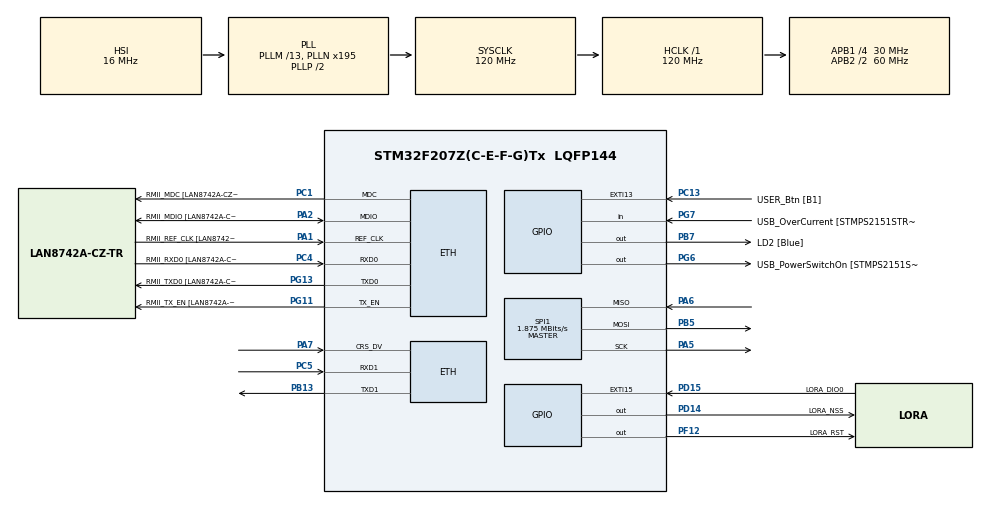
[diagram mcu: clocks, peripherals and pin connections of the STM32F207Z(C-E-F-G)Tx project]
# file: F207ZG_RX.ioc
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ETH.MediaInterface=ETH_MEDIA_INTERFACE_RMII
FREERTOS.Tasks01=defaultTask,0,1024,StartDefaultTask,Default,NULL,Dynamic,NULL,NULL
FREERTOS.configTOTAL_HEAP_SIZE=32768
FREERTOS.configUSE_NEWLIB_REENTRANT=1
LWIP.IP_ADDRESS=198.162.010.062
LWIP.LWIP_DHCP=0
LWIP.NETMASK_ADDRESS=255.255.255.000
LWIP.RTOS_USE_NEWLIB_REENTRANT=FREERTOS$context\:USE_NEWLIB_REENTRANT
LWIP.Version=v2.0.3_Cube
Mcu.Family=STM32F2
Mcu.Name=STM32F207Z(C-E-F-G)Tx
Mcu.Package=LQFP144
NVIC.ETH_IRQn=true\:5\:0\:false\:false\:true\:true\:false\:true\:true
NVIC.EXTI15_10_IRQn=true\:5\:0\:false\:false\:true\:true\:true\:true\:true
NVIC.PriorityGroup=NVIC_PRIORITYGROUP_4
NVIC.TIM6_DAC_IRQn=true\:15\:0\:false\:false\:true\:false\:false\:true\:true
NVIC.TimeBase=TIM6_DAC_IRQn
NVIC.TimeBaseIP=TIM6
PA1.GPIO_Label=RMII_REF_CLK [LAN8742A-CZ-TR_REFCLK0]
PA1.Mode=RMII
PA1.Signal=ETH_REF_CLK
PA10.GPIO_Label=USB_ID
PA10.Signal=USB_OTG_FS_ID
PA11.GPIO_Label=USB_DM
PA11.Signal=USB_OTG_FS_DM
PA12.GPIO_Label=USB_DP
PA12.Signal=USB_OTG_FS_DP
PA13.GPIO_Label=TMS
PA13.Mode=Serial_Wire
PA13.Signal=SYS_JTMS-SWDIO
PA14.GPIO_Label=TCK
PA14.Mode=Serial_Wire
PA14.Signal=SYS_JTCK-SWCLK
PA2.GPIO_Label=RMII_MDIO [LAN8742A-CZ-TR_MDIO]
PA2.Mode=RMII
PA2.Signal=ETH_MDIO
PA5.Mode=Full_Duplex_Master
PA5.Signal=SPI1_SCK
PA6.Mode=Full_Duplex_Master
PA6.Signal=SPI1_MISO
PA7.Mode=RMII
PA7.Signal=ETH_CRS_DV
PA9.GPIO_Label=USB_VBUS
PA9.Signal=USB_OTG_FS_VBUS
PB0.Signal=ETH_RXD2
PB13.Mode=RMII
PB13.Signal=ETH_TXD1
PB3.GPIO_Label=SWO
PB3.Signal=SYS_JTDO-SWO
PB5.Mode=Full_Duplex_Master
PB5.Signal=SPI1_MOSI
PB7.GPIO_Label=LD2 [Blue]
PB7.Signal=GPIO_Output
PC1.GPIO_Label=RMII_MDC [LAN8742A-CZ-TR_MDC]
PC1.Mode=RMII
PC1.Signal=ETH_MDC
PC13.GPIO_Label=USER_Btn [B1]
PC13.Signal=GPXTI13
PC14-OSC32_IN.Signal=RCC_OSC32_IN
PC15-OSC32_OUT.Signal=RCC_OSC32_OUT
PC4.GPIO_Label=RMII_RXD0 [LAN8742A-CZ-TR_RXD0]
PC4.Mode=RMII
PC4.Signal=ETH_RXD0
PC5.Mode=RMII
PC5.Signal=ETH_RXD1
PD14.GPIO_Label=LORA_NSS
PD14.Signal=GPIO_Output
PD15.GPIO_Label=LORA_DIO0
PD15.Signal=GPXTI15
PF12.GPIO_Label=LORA_RST
PF12.Signal=GPIO_Output
PG11.GPIO_Label=RMII_TX_EN [LAN8742A-CZ-TR_TXEN]
PG11.Mode=RMII
PG11.Signal=ETH_TX_EN
PG13.GPIO_Label=RMII_TXD0 [LAN8742A-CZ-TR_TXD0]
PG13.Mode=RMII
PG13.Signal=ETH_TXD0
PG6.GPIO_Label=USB_PowerSwitchOn [STMPS2151STR_EN]
PG6.Signal=GPIO_Output
PG7.GPIO_Label=USB_OverCurrent [STMPS2151STR_FAULT]
PG7.Signal=GPIO_Input
PH0-OSC_IN.GPIO_Label=MCO [STM32F103CBT6_PA8]
PH0-OSC_IN.Mode=HSE-External-Oscillator
PH0-OSC_IN.Signal=RCC_OSC_IN
PH1-OSC_OUT.Mode=HSE-External-Oscillator
PH1-OSC_OUT.Signal=RCC_OSC_OUT
ProjectManager.HeapSize=0x200
ProjectManager.StackSize=0x400
ProjectManager.TargetToolchain=STM32CubeIDE
RCC.48MHZClocksFreq_Value=48000000
RCC.AHBFreq_Value=120000000
RCC.APB1CLKDivider=RCC_HCLK_DIV4
RCC.APB1Freq_Value=30000000
RCC.APB1TimFreq_Value=60000000
RCC.APB2CLKDivider=RCC_HCLK_DIV2
RCC.APB2Freq_Value=60000000
RCC.APB2TimFreq_Value=120000000
RCC.CortexFreq_Value=120000000
RCC.HCLKFreq_Value=120000000
RCC.HSE_VALUE=8000000
RCC.HSI_VALUE=16000000
RCC.LSE_VALUE=32768
RCC.PLLM=13
RCC.PLLMUL=RCC_PLL_MUL9
RCC.PLLN=195
RCC.PLLQ=5
RCC.PRESCALERUSB=RCC_USBCLKSOURCE_PLL_DIV1_5
RCC.SYSCLKFreq_VALUE=120000000
RCC.SYSCLKSource=RCC_SYSCLKSOURCE_PLLCLK
RCC.SYSCLKSourceVirtual=RCC_SYSCLKSOURCE_PLLCLK
RCC.USBFreq_Value=48000000
RCC.VCOOutputFreq_Value=240000000
SPI1.BaudRatePrescaler=SPI_BAUDRATEPRESCALER_32
SPI1.CalculateBaudRate=1.875 MBits/s
SPI1.Direction=SPI_DIRECTION_2LINES
SPI1.Mode=SPI_MODE_MASTER
SPI1.VirtualType=VM_MASTER
VP_FREERTOS_VS_CMSIS_V1.Mode=CMSIS_V1
VP_LWIP_VS_Enabled.Mode=Enabled
VP_SYS_VS_tim6.Mode=TIM6
board=NUCLEO-F207ZG

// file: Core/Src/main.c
/* USER CODE BEGIN Header */
/**
 ******************************************************************************
 * @file    main.c
 * @brief   StructEye Gateway — STM32F207ZG LoRa RX
 *          Receives from 4 sensor nodes and forwards via Paho MQTT.
 ******************************************************************************
 */
/* USER CODE END Header */

#include "main.h"
#include "cmsis_os.h"
#include "lwip.h"

/* USER CODE BEGIN Includes */
#include "lora.h"
#include <stdio.h>
#include <string.h>
#include "lwip/api.h"

#include "MQTTClient.h"
#include "mqtt_transport.h"

#define MQTT_BROKER_IP   "192.168.1.100"
#define MQTT_BROKER_PORT 1883
/* USER CODE END Includes */

SPI_HandleTypeDef hspi1;
osThreadId defaultTaskHandle;

/* USER CODE BEGIN PV */
volatile uint8_t lora_rx_flag = 0;
MQTTClient mqttClient;
Network network;
unsigned char sendbuf[512];
unsigned char readbuf[512];
/* USER CODE END PV */

void SystemClock_Config(void);
static void MX_GPIO_Init(void);
static void MX_SPI1_Init(void);
void StartDefaultTask(void const * argument);

/* USER CODE BEGIN PFP */
int _write(int file, char *ptr, int len);
uint16_t crc16(const uint8_t *data, uint16_t len);
/* USER CODE END PFP */

/* USER CODE BEGIN 0 */

/* ── USART3 debug (Nucleo virtual COM) ─────────────────────────────────── */
static void USART3_DebugInit(void) {
  __HAL_RCC_GPIOD_CLK_ENABLE();
  __HAL_RCC_USART3_CLK_ENABLE();

  GPIO_InitTypeDef GPIO_InitStruct = {0};
  GPIO_InitStruct.Pin       = GPIO_PIN_8 | GPIO_PIN_9;
  GPIO_InitStruct.Mode      = GPIO_MODE_AF_PP;
  GPIO_InitStruct.Pull      = GPIO_NOPULL;
  GPIO_InitStruct.Speed     = GPIO_SPEED_FREQ_VERY_HIGH;
  GPIO_InitStruct.Alternate = GPIO_AF7_USART3;
  HAL_GPIO_Init(GPIOD, &GPIO_InitStruct);

  const uint32_t baud = 115200U;
  uint32_t pclk = HAL_RCC_GetPCLK1Freq();
  USART3->BRR  = (pclk + (baud / 2U)) / baud;
  USART3->CR1  = USART_CR1_TE | USART_CR1_RE;
  USART3->CR2  = 0;
  USART3->CR3  = 0;
  USART3->CR1 |= USART_CR1_UE;
}

static void USART3_WriteBlocking(const uint8_t *data, uint16_t len) {
  for (uint16_t i = 0; i < len; i++) {
    while ((USART3->SR & USART_SR_TXE) == 0) {}
    USART3->DR = data[i];
  }
  while ((USART3->SR & USART_SR_TC) == 0) {}
}

int _write(int file, char *ptr, int len) {
  (void)file;
  USART3_WriteBlocking((const uint8_t *)ptr, (uint16_t)len);
  return len;
}

int __io_putchar(int ch) {
  uint8_t c = (uint8_t)ch;
  USART3_WriteBlocking(&c, 1);
  return ch;
}

/* ── CRC16 ──────────────────────────────────────────────────────────────── */
uint16_t crc16(const uint8_t *data, uint16_t len) {
  uint16_t crc = 0xFFFF;
  for (uint16_t i = 0; i < len; i++) {
    crc ^= (uint16_t)data[i] << 8;
    for (uint8_t j = 0; j < 8; j++) {
      if (crc & 0x8000) crc = (crc << 1) ^ 0x1021;
      else              crc <<= 1;
    }
  }
  return crc;
}

/* ── LoRa DIO0 interrupt ────────────────────────────────────────────────── */
void HAL_GPIO_EXTI_Callback(uint16_t GPIO_Pin) {
  if (GPIO_Pin == LORA_DIO0_Pin) {
    lora_rx_flag = 1;
  }
}

/* USER CODE END 0 */

/* ── main ───────────────────────────────────────────────────────────────── */
int main(void) {
  HAL_Init();
  SystemClock_Config();
  MX_GPIO_Init();
  MX_SPI1_Init();

  /* USER CODE BEGIN 2 */
  USART3_DebugInit();
  setvbuf(stdout, NULL, _IONBF, 0);

  HAL_GPIO_WritePin(LORA_NSS_GPIO_Port, LORA_NSS_Pin, GPIO_PIN_SET);
  HAL_GPIO_WritePin(LORA_RST_GPIO_Port, LORA_RST_Pin, GPIO_PIN_SET);

  HAL_NVIC_SetPriority(EXTI15_10_IRQn, 0, 0);
  HAL_NVIC_EnableIRQ(EXTI15_10_IRQn);

  printf("\r\n============================================================\r\n");
  printf("  StructEye Gateway - STM32F207ZG LoRa Receiver (Paho MQTT)\r\n");
  printf("  MQTT Broker -> %s:%u\r\n", MQTT_BROKER_IP, MQTT_BROKER_PORT);
  printf("============================================================\r\n");

  SX1278_Init();
  uint8_t loraVersion = SX1278_ReadRegister(REG_VERSION);
  printf("LoRa Version: 0x%02X %s\r\n", loraVersion,
         (loraVersion == 0x12) ? "(OK)" : "(ERROR!)");

  SX1278_StartRX();
  printf("Listening for LoRa packets...\r\n\r\n");
  /* USER CODE END 2 */

  osThreadDef(defaultTask, StartDefaultTask, osPriorityNormal, 0, 4096);
  defaultTaskHandle = osThreadCreate(osThread(defaultTask), NULL);

  osKernelStart();

  while (1) { osDelay(100); }
}

/* ── FreeRTOS default task ───────────────────────────────────────────────── */
void StartDefaultTask(void const * argument) {
  extern struct netif gnetif;

  /* Init LwIP inside the task (required for FreeRTOS+LwIP) */
  MX_LWIP_Init();

  /* Wait for link to come up */
  osDelay(3000);
  printf("netif link: %s\r\n", netif_is_link_up(&gnetif) ? "UP" : "DOWN");
  printf("netif up:   %s\r\n", netif_is_up(&gnetif)      ? "UP" : "DOWN");

  /* USER CODE BEGIN 5 */

  /* --- PAHO MQTT INITIALIZATION --- */
  MQTT_NetworkInit(&network, MQTT_BROKER_IP, MQTT_BROKER_PORT);
  MQTTClientInit(&mqttClient, &network, 5000, sendbuf, sizeof(sendbuf), readbuf, sizeof(readbuf));

  printf("[MQTT] Connecting to broker %s...\r\n", MQTT_BROKER_IP);
  int rc = network.connect(&network, MQTT_BROKER_IP, MQTT_BROKER_PORT);
  if (rc == 0) {
      MQTTPacket_connectData data = MQTTPacket_connectData_initializer;
      data.MQTTVersion = 3;
      data.clientID.cstring = "STM32_Gateway";

      rc = MQTTConnect(&mqttClient, &data);
      if (rc == MQTT_SUCCESS) {
          printf("[MQTT] Connected successfully to Mosquitto!\r\n");
      } else {
          printf("[MQTT] MQTTConnect failed with code %d\r\n", rc);
      }
  } else {
      printf("[MQTT] TCP connection failed\r\n");
  }

  uint8_t  rx_buffer[256];
  memset(rx_buffer, 0, sizeof(rx_buffer));
  uint32_t total_rx      = 0;
  uint32_t valid_rx      = 0;

  for (;;) {

    /* Keep MQTT connection alive or try to reconnect */
    if (mqttClient.isconnected) {
        MQTTYield(&mqttClient, 10);
    } else {
        static uint32_t last_reconnect_attempt = 0;
        if (HAL_GetTick() - last_reconnect_attempt > 5000) {
            last_reconnect_attempt = HAL_GetTick();
            printf("[MQTT] Attempting to reconnect...\r\n");
            network.disconnect(&network);
            int rc = network.connect(&network, MQTT_BROKER_IP, MQTT_BROKER_PORT);
            if (rc == 0) {
                MQTTPacket_connectData data = MQTTPacket_connectData_initializer;
                data.MQTTVersion = 3;
                data.clientID.cstring = "STM32_Gateway";
                rc = MQTTConnect(&mqttClient, &data);
                if (rc == MQTT_SUCCESS) {
                    printf("[MQTT] Reconnected successfully to Mosquitto!\r\n");
                }
            }
        }
    }

    /* ── LoRa packet received ────────────────────────────────────────── */
    if (lora_rx_flag) {
      lora_rx_flag = 0;

      uint8_t irqFlags = SX1278_ReadRegister(REG_IRQ_FLAGS);
      SX1278_WriteRegister(REG_IRQ_FLAGS, 0xFF);
      total_rx++;

      /* Check RxDone flag (bit 6) */
      if (!(irqFlags & 0x40)) {
        SX1278_RestartRX();
        continue;
      }

      /* Check packet length */
      uint8_t len = SX1278_ReadRegister(REG_RX_NB_BYTES);
      if (len != 23) {
        printf("[DROP] Wrong length: %u\r\n", len);
        SX1278_RestartRX();
        continue;
      }

      /* Read FIFO */
      uint8_t fifoAddr = SX1278_ReadRegister(REG_FIFO_RX_CURRENT_ADDR);
      SX1278_WriteRegister(REG_FIFO_ADDR_PTR, fifoAddr);

      HAL_GPIO_WritePin(LORA_NSS_GPIO_Port, LORA_NSS_Pin, GPIO_PIN_RESET);
      uint8_t reg_addr = REG_FIFO & 0x7F;
      HAL_SPI_Transmit(&hspi1, &reg_addr, 1, HAL_MAX_DELAY);
      HAL_SPI_Receive(&hspi1, rx_buffer, len, HAL_MAX_DELAY);
      HAL_GPIO_WritePin(LORA_NSS_GPIO_Port, LORA_NSS_Pin, GPIO_PIN_SET);

      /* Check start byte */
      if (rx_buffer[0] != 0xAA) {
        printf("[DROP] Bad start: 0x%02X\r\n", rx_buffer[0]);
        SX1278_RestartRX();
        continue;
      }

      /* Check CRC */
      uint16_t rx_crc   = (uint16_t)((rx_buffer[21] << 8) | rx_buffer[22]);
      uint16_t calc_crc = crc16(rx_buffer, 21);
      if (rx_crc != calc_crc) {
        printf("[DROP] CRC: 0x%04X vs 0x%04X\r\n", rx_crc, calc_crc);
        SX1278_RestartRX();
        continue;
      }

      /* Parse packet */
      valid_rx++;
      uint8_t  node_id = rx_buffer[1];
      uint8_t  seq     = rx_buffer[2];
      int16_t  ax      = (int16_t)((rx_buffer[3]  << 8) | rx_buffer[4]);
      int16_t  ay      = (int16_t)((rx_buffer[5]  << 8) | rx_buffer[6]);
      int16_t  az      = (int16_t)((rx_buffer[7]  << 8) | rx_buffer[8]);
      int16_t  gx      = (int16_t)((rx_buffer[9]  << 8) | rx_buffer[10]);
      int16_t  gy      = (int16_t)((rx_buffer[11] << 8) | rx_buffer[12]);
      int16_t  gz      = (int16_t)((rx_buffer[13] << 8) | rx_buffer[14]);
      uint16_t vib     = (uint16_t)((rx_buffer[15] << 8) | rx_buffer[16]);
      int16_t  tilt    = (int16_t)((rx_buffer[17] << 8) | rx_buffer[18]);
      uint8_t  status  = rx_buffer[19];
      uint8_t  alert   = rx_buffer[20];

      SX1278_RestartRX();

      /* Print to serial */
      const char *alert_str = (alert == 0) ? "OK" :
                              (alert == 1) ? "WARN" :
                              (alert == 2) ? "CRITICAL" : "UNKNOWN";

      printf("\r\n--- Packet Received ---\r\n");
      printf("Node: %u | Seq: %u | RX: %lu Valid: %lu\r\n",
             node_id, seq, total_rx, valid_rx);
      printf("Accel: X=%.2f Y=%.2f Z=%.2f m/s2\r\n",
             ax/100.0f, ay/100.0f, az/100.0f);
      printf("Gyro:  X=%.2f Y=%.2f Z=%.2f deg/s\r\n",
             gx/100.0f, gy/100.0f, gz/100.0f);
      printf("Vib: %.2f m/s2 | Tilt: %.2f deg\r\n",
             vib/100.0f, tilt/100.0f);
      printf("Status: 0x%02X | Alert: %u [%s]\r\n",
             status, alert, alert_str);

      /* Publish via MQTT */
      if (mqttClient.isconnected) {
          char payload[256];
          int n = snprintf(payload, sizeof(payload),
              "{\"node\":%u, \"seq\":%u, \"ax\":%.2f, \"ay\":%.2f, \"az\":%.2f, "
              "\"gx\":%.2f, \"gy\":%.2f, \"gz\":%.2f, \"vib\":%.2f, \"tilt\":%.2f, "
              "\"alert\":%u}",
              node_id, seq, ax/100.0f, ay/100.0f, az/100.0f,
              gx/100.0f, gy/100.0f, gz/100.0f, vib/100.0f, tilt/100.0f, alert);

          MQTTMessage message;
          message.qos = QOS0;
          message.retained = 0;
          message.payload = payload;
          message.payloadlen = n;

          char topic[64];
          snprintf(topic, sizeof(topic), "struceye/node/%u/data", node_id);

          int pub_rc = MQTTPublish(&mqttClient, topic, &message);
          if (pub_rc == MQTT_SUCCESS) {
              printf("[MQTT] Successfully Published to %s\r\n", topic);
          } else {
              printf("[MQTT] Publish failed! code = %d\r\n", pub_rc);
          }
      } else {
          printf("[MQTT] Cannot publish, client disconnected.\r\n");
      }
    }

    osDelay(10);
  }
  /* USER CODE END 5 */
}

/* ── HAL / system callbacks ─────────────────────────────────────────────── */
void HAL_TIM_PeriodElapsedCallback(TIM_HandleTypeDef *htim) {
  if (htim->Instance == TIM6) HAL_IncTick();
}

void Error_Handler(void) {
  __disable_irq();
  while (1) {}
}

void SystemClock_Config(void) {
  RCC_OscInitTypeDef RCC_OscInitStruct = {0};
  RCC_ClkInitTypeDef RCC_ClkInitStruct = {0};

  RCC_OscInitStruct.OscillatorType      = RCC_OSCILLATORTYPE_HSI;
  RCC_OscInitStruct.HSIState            = RCC_HSI_ON;
  RCC_OscInitStruct.HSICalibrationValue = RCC_HSICALIBRATION_DEFAULT;
  RCC_OscInitStruct.PLL.PLLState        = RCC_PLL_ON;
  RCC_OscInitStruct.PLL.PLLSource       = RCC_PLLSOURCE_HSI;
  RCC_OscInitStruct.PLL.PLLM            = 13;
  RCC_OscInitStruct.PLL.PLLN            = 195;
  RCC_OscInitStruct.PLL.PLLP            = RCC_PLLP_DIV2;
  RCC_OscInitStruct.PLL.PLLQ            = 5;
  if (HAL_RCC_OscConfig(&RCC_OscInitStruct) != HAL_OK) Error_Handler();

  RCC_ClkInitStruct.ClockType      = RCC_CLOCKTYPE_HCLK | RCC_CLOCKTYPE_SYSCLK
                                   | RCC_CLOCKTYPE_PCLK1 | RCC_CLOCKTYPE_PCLK2;
  RCC_ClkInitStruct.SYSCLKSource   = RCC_SYSCLKSOURCE_PLLCLK;
  RCC_ClkInitStruct.AHBCLKDivider  = RCC_SYSCLK_DIV1;
  RCC_ClkInitStruct.APB1CLKDivider = RCC_HCLK_DIV4;
  RCC_ClkInitStruct.APB2CLKDivider = RCC_HCLK_DIV2;
  if (HAL_RCC_ClockConfig(&RCC_ClkInitStruct, FLASH_LATENCY_3) != HAL_OK) Error_Handler();
}

static void MX_SPI1_Init(void) {
  hspi1.Instance               = SPI1;
  hspi1.Init.Mode              = SPI_MODE_MASTER;
  hspi1.Init.Direction         = SPI_DIRECTION_2LINES;
  hspi1.Init.DataSize          = SPI_DATASIZE_8BIT;
  hspi1.Init.CLKPolarity       = SPI_POLARITY_LOW;
  hspi1.Init.CLKPhase          = SPI_PHASE_1EDGE;
  hspi1.Init.NSS               = SPI_NSS_SOFT;
  hspi1.Init.BaudRatePrescaler = SPI_BAUDRATEPRESCALER_32;
  hspi1.Init.FirstBit          = SPI_FIRSTBIT_MSB;
  hspi1.Init.TIMode            = SPI_TIMODE_DISABLE;
  hspi1.Init.CRCCalculation    = SPI_CRCCALCULATION_DISABLE;
  hspi1.Init.CRCPolynomial     = 10;
  if (HAL_SPI_Init(&hspi1) != HAL_OK) Error_Handler();
}

static void MX_GPIO_Init(void) {
  GPIO_InitTypeDef GPIO_InitStruct = {0};

  __HAL_RCC_GPIOC_CLK_ENABLE();
  __HAL_RCC_GPIOH_CLK_ENABLE();
  __HAL_RCC_GPIOA_CLK_ENABLE();
  __HAL_RCC_GPIOB_CLK_ENABLE();
  __HAL_RCC_GPIOF_CLK_ENABLE();
  __HAL_RCC_GPIOD_CLK_ENABLE();
  __HAL_RCC_GPIOG_CLK_ENABLE();

  HAL_GPIO_WritePin(LORA_RST_GPIO_Port,        LORA_RST_Pin,        GPIO_PIN_RESET);
  HAL_GPIO_WritePin(LORA_NSS_GPIO_Port,        LORA_NSS_Pin,        GPIO_PIN_RESET);
  HAL_GPIO_WritePin(USB_PowerSwitchOn_GPIO_Port, USB_PowerSwitchOn_Pin, GPIO_PIN_RESET);
  HAL_GPIO_WritePin(LD2_GPIO_Port,             LD2_Pin,             GPIO_PIN_RESET);

  GPIO_InitStruct.Pin  = USER_Btn_Pin;
  GPIO_InitStruct.Mode = GPIO_MODE_IT_RISING;
  GPIO_InitStruct.Pull = GPIO_NOPULL;
  HAL_GPIO_Init(USER_Btn_GPIO_Port, &GPIO_InitStruct);

  GPIO_InitStruct.Pin   = LORA_RST_Pin;
  GPIO_InitStruct.Mode  = GPIO_MODE_OUTPUT_PP;
  GPIO_InitStruct.Pull  = GPIO_NOPULL;
  GPIO_InitStruct.Speed = GPIO_SPEED_FREQ_LOW;
  HAL_GPIO_Init(LORA_RST_GPIO_Port, &GPIO_InitStruct);

  GPIO_InitStruct.Pin   = LORA_NSS_Pin;
  HAL_GPIO_Init(LORA_NSS_GPIO_Port, &GPIO_InitStruct);

  GPIO_InitStruct.Pin  = LORA_DIO0_Pin;
  GPIO_InitStruct.Mode = GPIO_MODE_IT_RISING;
  GPIO_InitStruct.Pull = GPIO_NOPULL;
  HAL_GPIO_Init(LORA_DIO0_GPIO_Port, &GPIO_InitStruct);

  GPIO_InitStruct.Pin   = USB_PowerSwitchOn_Pin;
  GPIO_InitStruct.Mode  = GPIO_MODE_OUTPUT_PP;
  GPIO_InitStruct.Pull  = GPIO_NOPULL;
  GPIO_InitStruct.Speed = GPIO_SPEED_FREQ_LOW;
  HAL_GPIO_Init(USB_PowerSwitchOn_GPIO_Port, &GPIO_InitStruct);

  GPIO_InitStruct.Pin  = USB_OverCurrent_Pin;
  GPIO_InitStruct.Mode = GPIO_MODE_INPUT;
  GPIO_InitStruct.Pull = GPIO_NOPULL;
  HAL_GPIO_Init(USB_OverCurrent_GPIO_Port, &GPIO_InitStruct);

  GPIO_InitStruct.Pin       = USB_ID_Pin | USB_DM_Pin | USB_DP_Pin;
  GPIO_InitStruct.Mode      = GPIO_MODE_AF_PP;
  GPIO_InitStruct.Pull      = GPIO_NOPULL;
  GPIO_InitStruct.Speed     = GPIO_SPEED_FREQ_VERY_HIGH;
  GPIO_InitStruct.Alternate = GPIO_AF10_OTG_FS;
  HAL_GPIO_Init(GPIOA, &GPIO_InitStruct);

  GPIO_InitStruct.Pin  = USB_VBUS_Pin;
  GPIO_InitStruct.Mode = GPIO_MODE_INPUT;
  GPIO_InitStruct.Pull = GPIO_NOPULL;
  HAL_GPIO_Init(USB_VBUS_GPIO_Port, &GPIO_InitStruct);

  GPIO_InitStruct.Pin   = LD2_Pin;
  GPIO_InitStruct.Mode  = GPIO_MODE_OUTPUT_PP;
  GPIO_InitStruct.Pull  = GPIO_NOPULL;
  GPIO_InitStruct.Speed = GPIO_SPEED_FREQ_LOW;
  HAL_GPIO_Init(LD2_GPIO_Port, &GPIO_InitStruct);

  HAL_NVIC_SetPriority(EXTI15_10_IRQn, 5, 0);
  HAL_NVIC_EnableIRQ(EXTI15_10_IRQn);
}
